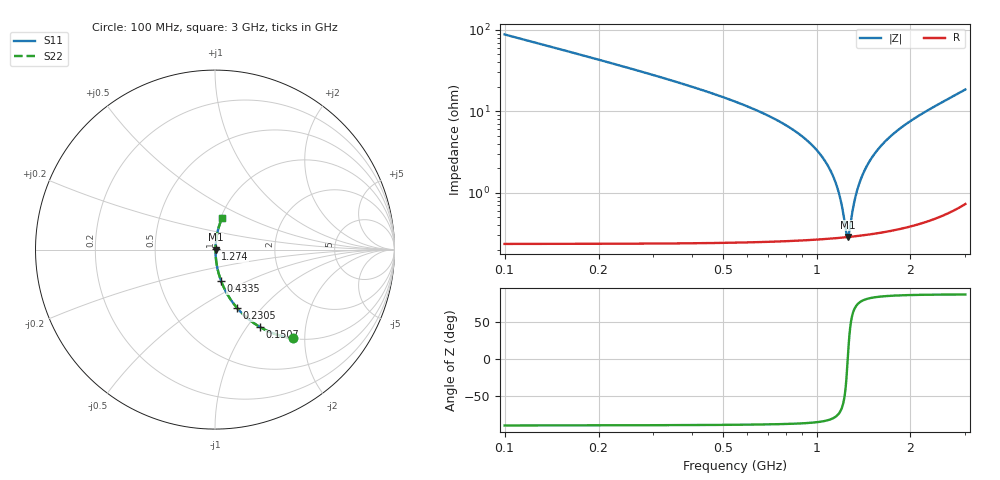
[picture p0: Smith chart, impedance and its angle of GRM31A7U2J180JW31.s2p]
!Murata Part Number: GRM31A7U2J180JW31
!These Parameters are Measured in Series Mode Connection
!Data Generated on Mar 30, 2021
!  o--ll--o
!Port1  Port2
!  o------o
!Operation Temp=25[degC], DC Bias Voltage=0[V]
!Freq. Start=100[MHz] Stop=3[GHz] 401[Steps]
# Hz S RI R 50
!Freq.(Hz) S11(Real) S11(Imag) S21(Real) S21(Imag) S12(Real) S12(Imag) S22(Real) S22(Imag)
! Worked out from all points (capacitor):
!   401 points, 100 MHz to 3 GHz, reference 50 ohm
!   read as one part in series: C = 18 pF near 114.5 MHz
!   lowest |Z| = 287 mohm at 1.26 GHz (marker M1)
!   series resonance near 1.259 GHz, so ESL is about 890 pH
!   S11 on the Smith chart (normalised r, x): 100 MHz: 1.00, -1.76; 150.8 MHz: 1.00, -1.16; 230.5 MHz: 1.00, -0.74; 433.5 MHz: 1.00, -0.36; 1.274 GHz: 1.01, +0.00; 3 GHz: 1.01, +0.37
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1e8  0.436 -0.4945  0.564 0.4945  0.564 0.4945  0.436 -0.4945
1.5075e8  0.2516 -0.4319  0.7484 0.4319  0.7484 0.4319  0.2516 -0.4319
2.305e8  0.1227 -0.3249  0.8773 0.3249  0.8773 0.3249  0.1227 -0.3249
4.335e8  0.0338 -0.1742  0.9662 0.1742  0.9662 0.1742  0.0338 -0.1742
5.8575e8  0.0164 -0.1172  0.9836 0.1172  0.9836 0.1172  0.0164 -0.1172
8.9025e8  0.00514 -0.0504  0.9949 0.0504  0.9949 0.0504  0.00514 -0.0504
9.9175e8  0.00385 -0.0345  0.9962 0.0345  0.9962 0.0345  0.00385 -0.0345
1.0715e9  0.00325 -0.0233  0.9968 0.0233  0.9968 0.0233  0.00325 -0.0233
1.12225e9  0.00302 -0.0166  0.997 0.0166  0.997 0.0166  0.00302 -0.0166
1.16575e9  0.0029 -0.0111  0.9971 0.0111  0.9971 0.0111  0.0029 -0.0111
1.202e9  0.00285 -0.00671  0.9972 0.00671  0.9972 0.00671  0.00285 -0.00671
1.2455e9  0.00284 -0.00153  0.9972 0.00153  0.9972 0.00153  0.00284 -0.00153
1.26e9  0.00285 0.000156  0.9971 -0.000156  0.9971 -0.000156  0.00285 0.000156
1.2745e9  0.00287 0.00183  0.9971 -0.00183  0.9971 -0.00183  0.00287 0.00183
1.32525e9  0.00297 0.00758  0.997 -0.00758  0.997 -0.00758  0.00297 0.00758
1.376e9  0.00314 0.0132  0.9969 -0.0132  0.9969 -0.0132  0.00314 0.0132
1.4485e9  0.00348 0.0209  0.9965 -0.0209  0.9965 -0.0209  0.00348 0.0209
1.55e9  0.00414 0.0314  0.9959 -0.0314  0.9959 -0.0314  0.00414 0.0314
1.753e9  0.00608 0.0514  0.9939 -0.0514  0.9939 -0.0514  0.00608 0.0514
2.03575e9  0.0101 0.0783  0.9899 -0.0783  0.9899 -0.0783  0.0101 0.0783
2.5215e9  0.0212 0.1254  0.9788 -0.1254  0.9788 -0.1254  0.0212 0.1254
3e9  0.0397 0.1767  0.9603 -0.1767  0.9603 -0.1767  0.0397 0.1767
